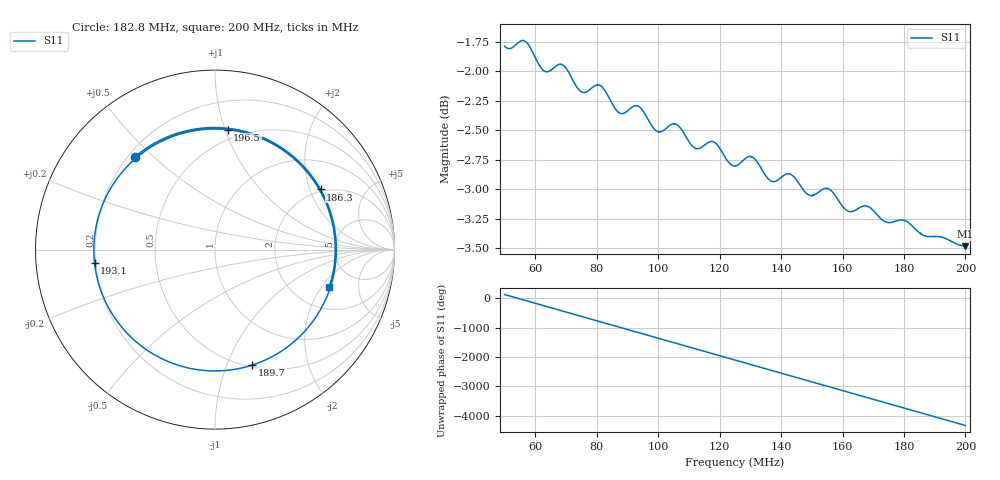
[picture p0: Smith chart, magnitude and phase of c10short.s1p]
! COPPER MOUNTAIN TECHNOLOGIES, PLANAR TR1300/1, 00071119, 20.2.2/1.0
! Date: 1/7/2024 7:30:48 PM
! Data: Format [Calibration Info]
! Freq  S11: Re/Im F1
# HZ S RI R 50
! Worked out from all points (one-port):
!   12288 points, 50 MHz to 200 MHz, reference 50 ohm
!   lowest |S11| = -3.5 dB at 200 MHz (marker M1), VSWR 5.06, Z = 152 - j120 ohm
!   |S11| at or under -10 dB: nowhere
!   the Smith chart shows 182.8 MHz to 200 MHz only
!   S11 on the Smith chart (normalised r, x): 182.8 MHz: 0.23, +0.44; 186.3 MHz: 1.92, +2.38; 189.7 MHz: 0.52, -1.24; 193.1 MHz: 0.19, -0.05; 196.5 MHz: 0.42, +1.02; 200 MHz: 3.12, -2.38
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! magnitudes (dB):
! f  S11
! 50 MHz  -1.8
! 56.68 MHz  -1.7
! 63.28 MHz  -2.0
! 68.75 MHz  -1.9
! 74.99 MHz  -2.2
! 81.55 MHz  -2.1
! 87.5 MHz  -2.4
! 93.08 MHz  -2.3
! 99.69 MHz  -2.5
! 106.3 MHz  -2.5
! 111.6 MHz  -2.6
! 118.1 MHz  -2.6
! 125 MHz  -2.8
! 130.2 MHz  -2.7
! 136.8 MHz  -2.9
! 143.8 MHz  -2.9
! 148.7 MHz  -3.0
! 155.4 MHz  -3.0
! 162.5 MHz  -3.2
! 167.8 MHz  -3.1
! 181.3 MHz  -3.3
! 182.8 MHz  -3.3
! 186.3 MHz  -3.4
! 189.7 MHz  -3.4
! 193.1 MHz  -3.4
! 196.5 MHz  -3.5
! 200 MHz  -3.5
! 200 MHz  -3.5
